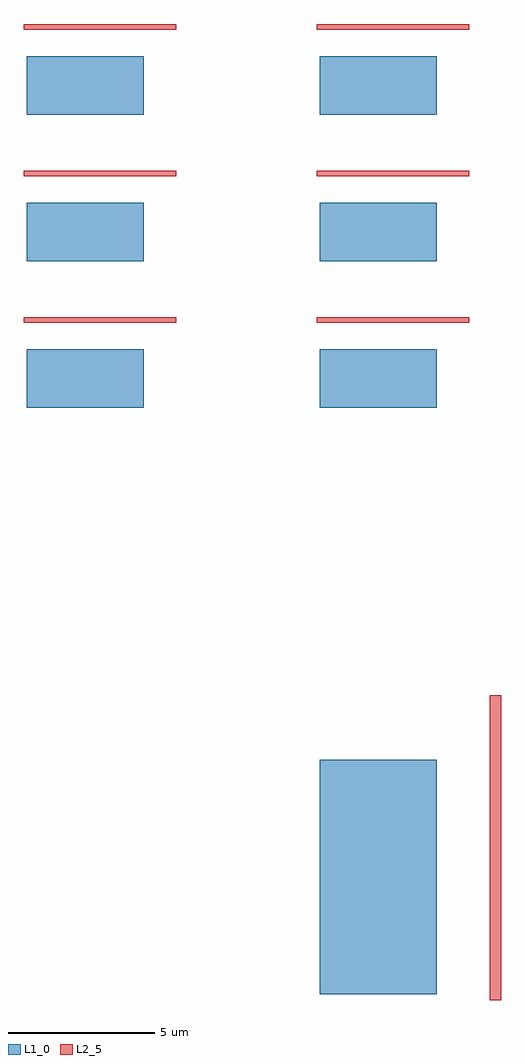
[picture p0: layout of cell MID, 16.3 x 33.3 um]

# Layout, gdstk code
from math import pi, radians
import gdstk
lib = gdstk.Library(unit=1e-6, precision=1e-09)
def R(c, l, rs):  # rectangles x0, y0, x1, y1
    for r in rs: c.add(gdstk.rectangle(r[:2], r[2:], *l))
L1_0 = (1, 0)
L2_5 = (2, 5)

leaf = lib.new_cell('LEAF')
R(leaf, L1_0, [(0,0,4,2)])
leaf.add(gdstk.FlexPath([(0,3),(5,3)], 0.2, ends="extended", simple_path=True, layer=2, datatype=5))  # L2_5
leaf.add(gdstk.Label('IN', (0.1,0.1), layer=63, texttype=0))

mid = lib.new_cell('MID')
mid.add(gdstk.Reference(leaf, (10,0), rotation=pi/2, magnification=2, x_reflection=True))
r = gdstk.Reference(leaf, (0,20)); r.repetition = gdstk.Repetition(2, 3, v1=(10,0), v2=(0,5)); mid.add(r)

lib.write_gds('MID.gds')
